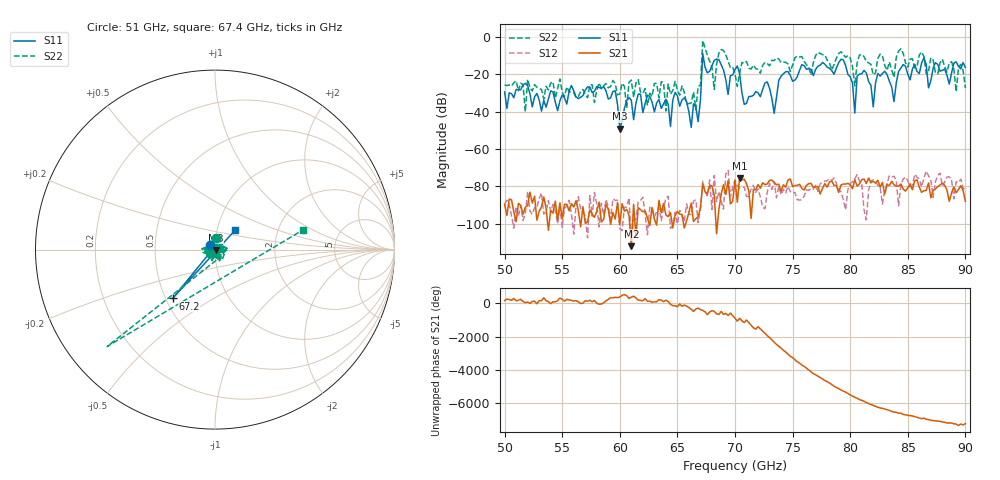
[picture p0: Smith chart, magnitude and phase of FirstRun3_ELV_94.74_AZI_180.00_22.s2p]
! 11/24/2026 3:36:47 PM
! C:\ANRITSUVNA\TEMP\TEMP.S2P
! CHANNEL.1
! TR.MEASUREMENT
! RAW.DATA
# HZ S RI R 50.0
! FREQ.HZ  S11RE  S11IM  S21RE  S21IM  S12RE  S12IM  S22RE  S22IM
!; PortSelection: Port_12
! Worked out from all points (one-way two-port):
!   201 points, 50 GHz to 90 GHz, reference 50 ohm
!   highest |S21| = -75.46 dB at 70.4 GHz (marker M1); lowest = -111.9 dB at 61 GHz (marker M2)
!   lowest |S11| = -49.0 dB at 60 GHz (marker M3), VSWR 1.01, Z = 50.3 - j0.15 ohm
!   |S11| at or under -10 dB: start of sweep to 67.19 GHz; 67.23 GHz to end of sweep
!   |S22| runs from -40.0 to -1.9 dB; largest |S21 - S12| = 0.00032
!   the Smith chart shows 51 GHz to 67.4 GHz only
!   S11 on the Smith chart (normalised r, x): 51 GHz: 0.94, +0.05; 67.2 GHz: 0.54, -0.34; 67.4 GHz: 1.22, +0.27
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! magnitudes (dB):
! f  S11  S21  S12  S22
! 50 GHz  -29.4  -89.5  -89.4  -25.6
! 51 GHz  -28.1  -98.9  -90.8  -23.4
! 56.8 GHz  -31.4  -90.7  -93.2  -28.1
! 59.6 GHz  -28.8  -97.4  -87.5  -25.0
! 60 GHz  -49.0  -100.3  -102.5  -30.5
! 61 GHz  -33.8  -111.9  -108.0  -23.0
! 63.4 GHz  -33.4  -87.4  -91.2  -32.6
! 66.8 GHz  -45.3  -96.1  -99.3  -26.5
! 67.2 GHz  -8.9  -78.7  -77.2  -1.9
! 67.4 GHz  -16.1  -82.7  -82.8  -5.9
! 68.2 GHz  -12.5  -84.7  -74.1  -28.0
! 68.8 GHz  -14.8  -84.1  -87.8  -6.7
! 70 GHz  -17.4  -76.6  -76.6  -19.9
! 70.4 GHz  -19.4  -75.5  -80.9  -19.3
! 73.4 GHz  -40.8  -77.9  -77.3  -12.6
! 74.2 GHz  -19.7  -79.1  -81.6  -13.5
! 76.8 GHz  -20.7  -80.6  -81.3  -13.6
! 79.4 GHz  -12.2  -78.7  -87.0  -9.4
! 80.4 GHz  -40.7  -76.4  -75.9  -26.2
! 80.6 GHz  -21.0  -79.9  -73.7  -14.0
! 83.4 GHz  -23.7  -79.5  -74.1  -13.3
! 90 GHz  -16.3  -87.9  -82.0  -27.3
